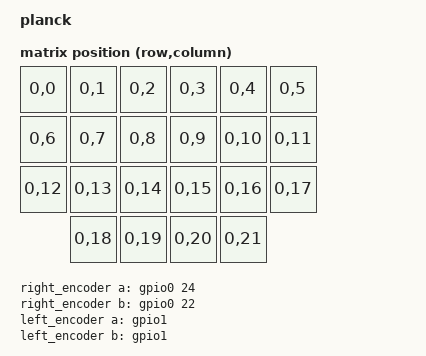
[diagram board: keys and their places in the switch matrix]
/*
 * Copyright (c) 2020 The ZMK Contributors
 *
 * SPDX-License-Identifier: MIT
 */

/dts-v1/;
#include <nordic/nrf52840_qiaa.dtsi>
#include <dt-bindings/zmk/matrix_transform.h>
#include <physical_layouts.dtsi>

/ {
    model = "planck";
    compatible = "yangxing,planck";

    chosen {
        zephyr,code-partition = &code_partition;
        zephyr,sram = &sram0;
        zephyr,flash = &flash0;
        zmk,battery = &vbatt;
    };

    // 独立后每块板 22 键，位置 0-21 按 6/6/6/4 顺序排列（原 RC(0,0)..RC(0,21)）
    default_transform: keymap_transform_0 {
        compatible = "zmk,matrix-transform";
        columns = <22>;
        rows = <1>;
        map = <
			RC(0,0)  RC(0,1)  RC(0,2)  RC(0,3)  RC(0,4)  RC(0,5)
			RC(0,6)  RC(0,7)  RC(0,8)  RC(0,9)  RC(0,10) RC(0,11)
			RC(0,12) RC(0,13) RC(0,14) RC(0,15) RC(0,16) RC(0,17)
			         RC(0,18) RC(0,19) RC(0,20) RC(0,21)
        >;
    };

    // 物理布局按板旋转，分别定义在 planck_left.dts / planck_right.dts

    vbatt: vbatt {
        compatible = "zmk,battery-nrf-vddh";
    };
	right_encoder: encoder_right {
					compatible = "alps,ec11";
					a-gpios = <&gpio0 24 (GPIO_ACTIVE_HIGH | GPIO_OPEN_DRAIN)>;
					b-gpios = <&gpio0 22 (GPIO_ACTIVE_HIGH | GPIO_OPEN_DRAIN)>;
					status = "disabled";
					steps = <30>;
	 };

	left_encoder: encoder_left {
					compatible = "alps,ec11";
					a-gpios = <&gpio1  2(GPIO_ACTIVE_HIGH | GPIO_OPEN_DRAIN)>;
					b-gpios = <&gpio1  7(GPIO_ACTIVE_HIGH | GPIO_OPEN_DRAIN)>;
					status = "disabled";
					steps = <30>;
	 };
sensors: sensors {
        compatible = "zmk,keymap-sensors";
        sensors = <&left_encoder &right_encoder >;
        triggers-per-rotation = <15>;
    };
};

&adc {
    status = "okay";
};
&gpiote {
    status = "okay";
};

&gpio0 {
    status = "okay";
};

&gpio1 {
    status = "okay";
};

zephyr_udc0:&usbd {
		status = "okay";
};



&flash0 {
    /*
     * For more information, see:
     * http://docs.zephyrproject.org/latest/devices/dts/flash_partitions.html
     */
    partitions {
        compatible = "fixed-partitions";
        #address-cells = <1>;
        #size-cells = <1>;

        sd_partition: partition@0 {
            reg = <0x00000000 0x00026000>;
        };
        code_partition: partition@26000 {
            reg = <0x00026000 0x000c6000>;
        };

        /*
         * The flash starting at 0x000ec000 and ending at
         * 0x000f3fff is reserved for use by the application.
         */

        /*
         * Storage partition will be used by FCB/LittleFS/NVS
         * if enabled.
         */
        storage_partition: partition@ec000 {
            reg = <0x000ec000 0x00008000>;
        };

        boot_partition: partition@f4000 {
            reg = <0x000f4000 0x0000c000>;
        };
    };
};
